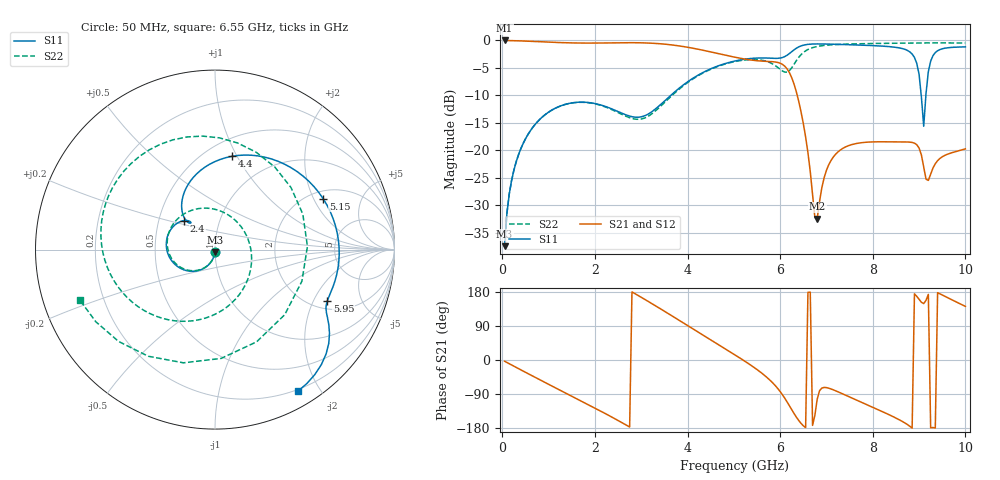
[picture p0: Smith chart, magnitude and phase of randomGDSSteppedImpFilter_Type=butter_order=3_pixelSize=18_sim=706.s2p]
! freq	dB(S11)	phase(S11)	dB(S12)	phase(S12)
!  dB(S21)	phase(S21)	dB(S22)	phase(S22)
!S-par simulation data
#  GHz  S  DB  R 50
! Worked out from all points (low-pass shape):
!   200 points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, 50 MHz to 10 GHz, reference 50 ohm
!   highest |S21| = 0.00 dB at 50 MHz (marker M1); lowest = -32.4 dB at 6.8 GHz (marker M2)
!   |S21| within 3 dB of the highest: start of sweep to 4.996 GHz
!   lowest |S11| = -37.4 dB at 50 MHz (marker M3), VSWR 1.03, Z = 49.9 - j1.35 ohm
!   |S11| at or under -10 dB: start of sweep to 3.636 GHz; 9.047 GHz to 9.147 GHz (100.3 MHz wide, 1.1 % of centre)
!   |S22| runs from -37.4 to -0.4 dB; largest |S21 - S12| = 0
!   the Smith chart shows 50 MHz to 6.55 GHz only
!   S11 on the Smith chart (normalised r, x): 50 MHz: 1.00, -0.03; 2.4 GHz: 0.68, +0.23; 4.4 GHz: 0.66, +0.95; 5.15 GHz: 2.33, +2.38; 5.95 GHz: 2.39, -2.58; 6.55 GHz: 0.18, -1.73
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0.05  -37.38 -92.7  -0.00 -3.3  -0.00 -3.3  -37.40 -92.9
0.5  -17.90 -122.4  -0.12 -32.4  -0.12 -32.4  -17.90 -123.3
1.75  -11.22 164.4  -0.48 -111.0  -0.48 -111.0  -11.25 152.8
2.4  -12.57 136.6  -0.44 -152.9  -0.44 -152.9  -12.71 97.3
3.4  -11.80 133.2  -0.60 136.2  -0.60 136.2  -12.11 -43.0
4.4  -5.55 79.8  -1.90 60.8  -1.90 60.8  -5.64 -139.9
5.05  -3.69 32.4  -3.10 11.6  -3.10 11.6  -3.80 169.7
5.15  -3.53 25.2  -3.26 3.8  -3.26 3.8  -3.66 161.5
5.95  -3.25 -24.4  -4.01 -75.5  -4.01 -75.5  -4.91 54.2
6.15  -2.69 -31.3  -5.17 -110.6  -5.17 -110.6  -5.76 -20.0
6.3  -1.71 -39.5  -7.94 -141.1  -7.94 -141.1  -4.33 -86.8
6.55  -0.78 -59.7  -17.56 -178.5  -17.56 -178.5  -1.89 -159.7
6.7  -0.65 -71.3  -27.95 -172.5  -27.95 -172.5  -1.31 174.6
6.8  -0.64 -78.6  -32.38 -103.5  -32.38 -103.5  -1.10 161.4
7.2  -0.70 -105.0  -20.66 -81.3  -20.66 -81.3  -0.75 124.4
8.35  -1.12 179.8  -18.43 -144.3  -18.43 -144.3  -0.52 59.2
8.9  -3.09 115.4  -18.67 174.6  -18.67 174.6  -0.49 34.9
9.05  -10.28 49.8  -20.81 152.4  -20.81 152.4  -0.48 28.8
9.1  -15.60 -34.6  -22.97 148.9  -22.97 148.9  -0.46 26.8
9.15  -9.63 -113.2  -25.22 157.6  -25.22 157.6  -0.45 24.8
9.35  -2.21 170.4  -22.40 -179.7  -22.40 -179.7  -0.44 16.7
10  -1.17 100.7  -19.71 141.5  -19.71 141.5  -0.47 -7.7
